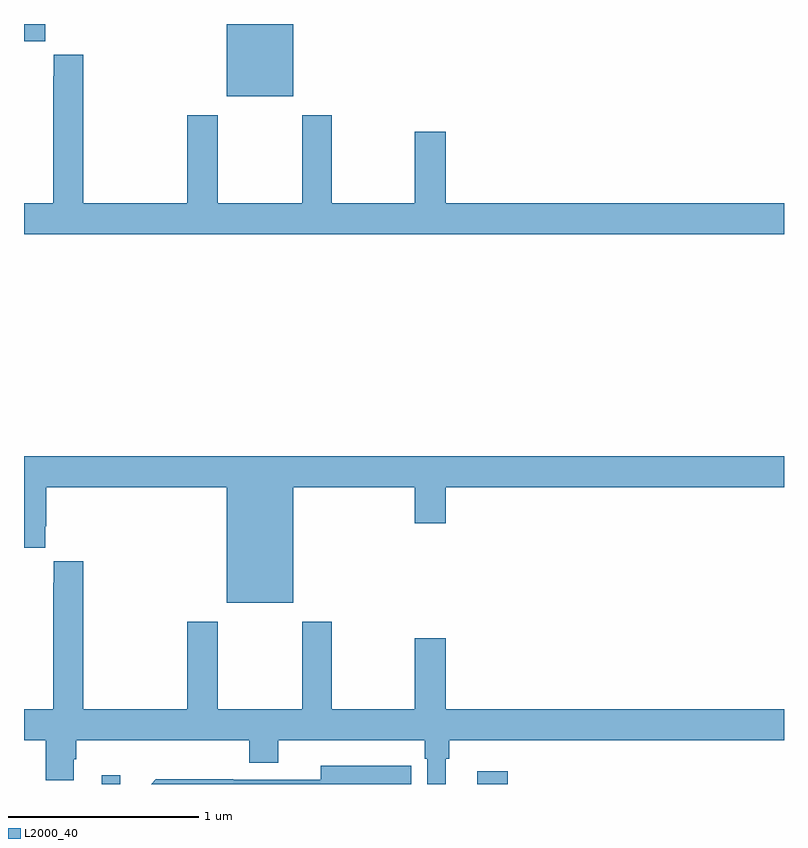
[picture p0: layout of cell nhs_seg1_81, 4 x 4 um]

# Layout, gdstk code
import gdstk
lib = gdstk.Library(unit=1e-6, precision=1e-09)
def R(c, l, rs):  # rectangles x0, y0, x1, y1
    for r in rs: c.add(gdstk.rectangle(r[:2], r[2:], *l))
def P(c, l, *ps):  # polygons
    for p in ps: c.add(gdstk.Polygon(p, *l))
L2000_40 = (2000, 40)

nhs_seg1_81 = lib.new_cell('nhs_seg1_81')
R(nhs_seg1_81, L2000_40, [(115.409,522.199,115.506,522.246), (117.386,522.199,117.545,522.265), (116.066,525.818,116.416,526.199), (115,526.107,115.111,526.199)])
P(nhs_seg1_81, L2000_40, [(119,525.256),(117.22,525.256),(117.22,525.631),(117.056,525.631),(117.056,525.256),(116.619,525.256),(116.619,525.718),(116.464,525.718),(116.464,525.256),(116.019,525.256),(116.019,525.718),(115.859,525.718),(115.859,525.256),(115.313,525.256),(115.313,526.036),(115.157,526.036),(115.157,525.923),(115.153,525.923),(115.153,525.256),(115,525.256),(115,525.092),(119,525.092)],
  [(116.416,523.76),(117.056,523.76),(117.056,523.572),(117.22,523.572),(117.22,523.76),(119,523.76),(119,523.924),(115,523.924),(115,523.443),(115.111,523.443),(115.111,523.555),(115.118,523.555),(115.118,523.76),(116.066,523.76),(116.066,523.154),(116.416,523.154)],
  [(117.22,522.332),(117.239,522.332),(117.239,522.428),(119,522.428),(119,522.592),(117.22,522.592),(117.22,522.967),(117.056,522.967),(117.056,522.592),(116.619,522.592),(116.619,523.054),(116.464,523.054),(116.464,522.592),(116.019,522.592),(116.019,523.054),(115.859,523.054),(115.859,522.592),(115.313,522.592),(115.313,523.371),(115.157,523.371),(115.157,523.259),(115.153,523.259),(115.153,522.592),(115,522.592),(115,522.428),(115.114,522.428),(115.114,522.22),(115.261,522.22),(115.261,522.33),(115.274,522.33),(115.274,522.428),(116.186,522.428),(116.186,522.311),(116.338,522.311),(116.338,522.428),(117.11,522.428),(117.11,522.332),(117.123,522.332),(117.123,522.199),(117.22,522.199)],
  [(117.038,522.294),(116.93,522.294),(116.93,522.295),(116.562,522.295),(116.562,522.222),(116.102,522.222),(116.102,522.224),(115.694,522.224),(115.669,522.199),(117.038,522.199)])

lib.write_gds('nhs_seg1_81.gds')
